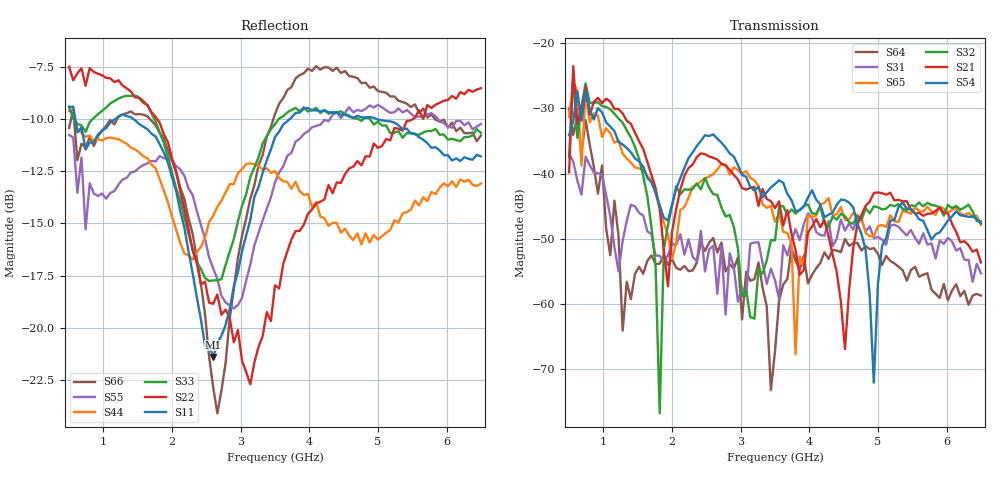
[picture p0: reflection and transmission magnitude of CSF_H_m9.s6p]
!Keysight Technologies,M9804A,MY58100912,A.14.10.03
!Date: Thursday, April 27, 2023 10:28:33
!Correction: S11(C  6-Port  )
!S12(C  6-Port  )
!S13(C  6-Port  )
!S14(C  6-Port  )
!S15(C  6-Port  )
!S16(C  6-Port  )
!S21(C  6-Port  )
!S22(C  6-Port  )
!S23(C  6-Port  )
!S24(C  6-Port  )
!S25(C  6-Port  )
!S26(C  6-Port  )
!S31(C  6-Port  )
!S32(C  6-Port  )
!S33(C  6-Port  )
!S34(C  6-Port  )
!S35(C  6-Port  )
!S36(C  6-Port  )
!S41(C  6-Port  )
!S42(C  6-Port  )
!S43(C  6-Port  )
!S44(C  6-Port  )
!S45(C  6-Port  )
!S46(C  6-Port  )
!S51(C  6-Port  )
!S52(C  6-Port  )
!S53(C  6-Port  )
!S54(C  6-Port  )
!S55(C  6-Port  )
!S56(C  6-Port  )
!S61(C  6-Port  )
!S62(C  6-Port  )
!S63(C  6-Port  )
!S64(C  6-Port  )
!S65(C  6-Port  )
!S66(C  6-Port  )
!S6P File: Measurement: :
# Hz S  RI  R 50
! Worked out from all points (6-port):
!   101 points, 500 MHz to 6.5 GHz, reference 50 ohm
!   strongest paths, dB at 500 MHz, 2 GHz, 3.5 GHz, 5 GHz, 6.5 GHz:
!     S54: -34.1, -44.7, -41.6, -56.9, -47.6
!     S21: -39.8, -48.9, -45.2, -42.9, -53.6
!     S32: -37.4, -44.9, -50.2, -45.1, -47.3
!     S65: -31.3, -53.1, -47.4, -48.0, -47.9
!     S31: -37.0, -50.7, -56.3, -49.7, -55.2
!     S64: -30.0, -53.1, -67.2, -52.3, -58.7
!   lowest |S11| = -21.4 dB at 2.6 GHz (marker M1), VSWR 1.19, Z = 42.4 + j2.2 ohm
!   |S11| at or under -10 dB: 589.1 MHz to 1.169 GHz (580.4 MHz wide, 66 % of centre); 1.439 GHz to 3.714 GHz (2.275 GHz wide, 88.3 % of centre); 4.983 GHz to end of sweep
